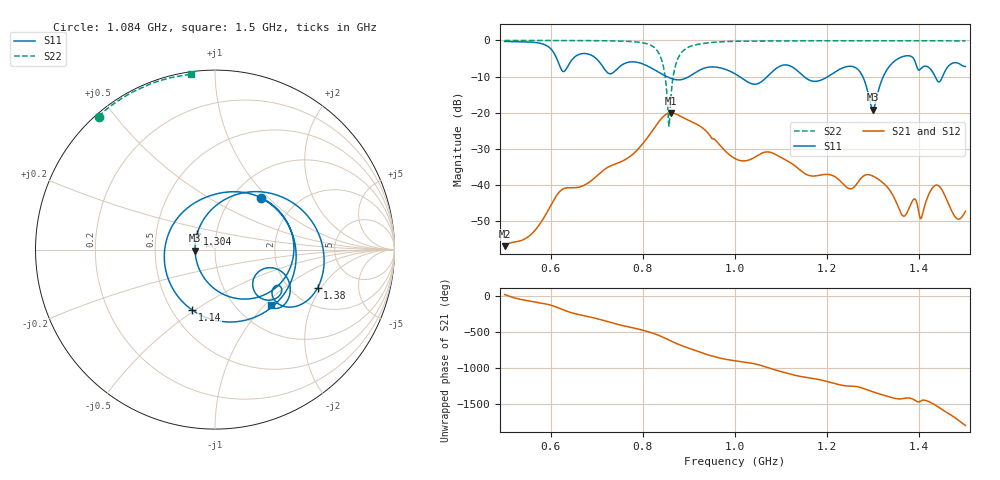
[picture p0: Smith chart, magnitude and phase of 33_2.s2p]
! TOUCHSTONE file generated by CST MICROWAVE STUDIO
! Date and time: Thu Feb 18 07:36:40 2021
! Project name: Scenario_1_Planar_Body_Tissue_Out_of_Line.cst
! Parameters = {L_HA=400; Ltissue=1000; MT=2.54; Rad_Dielectric=30; Rad_Lower=7.3; Rad_Upper=30; Wtissue=1000; a_HA=580; a_WG=246; b_HA=500; b_WG=121; c_HA=0; c_WG=187; d_feed=85; dx1=346; dy1=207.6; h_feed=15; h_lower=18; h_upper=40; hfat=3; hgap=25; hmuscle=50; hskin=1.5}
! Header version: 2018
! Port assignment regex: !\s*Touchstone port\s*([0-9]+)\s*=\s*(CST MWS port|CST DS port)\s*([0-9]+|Zmin|Zmax)\s*\(\"(.*)\"\)(\s*mode\s*([0-9]+))?.*
! Touchstone port assignment:
! Touchstone port 1 = CST MWS port 1 ("")
! Touchstone port 2 = CST MWS port 2 ("")
# GHz S DB R 50
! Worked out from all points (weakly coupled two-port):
!   1003 points, 500 MHz to 1.5 GHz, reference 50 ohm
!   highest |S21| = -20.01 dB at 861 MHz (marker M1); lowest = -56.8 dB at 500 MHz (marker M2)
!   lowest |S11| = -19.1 dB at 1.299 GHz (marker M3), VSWR 1.25, Z = 40 - j0.463 ohm
!   |S11| at or under -10 dB: 852.4 MHz to 900 MHz (47.67 MHz wide, 5.44 % of centre); 1.01 GHz to 1.07 GHz (59.96 MHz wide, 5.77 % of centre); 1.15 GHz to 1.202 GHz (51.56 MHz wide, 4.39 % of centre)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
!   |S22| runs from -23.7 to 0.0 dB; largest |S21 - S12| = 0.00017
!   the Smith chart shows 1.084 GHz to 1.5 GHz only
!   S11 on the Smith chart (normalised r, x): 1.084 GHz: 1.34, +0.90; 1.14 GHz: 0.63, -0.48; 1.304 GHz: 0.81, +0.14; 1.38 GHz: 2.76, -1.86; 1.5 GHz: 1.41, -1.08
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0.5  -0.27 -121.6  -56.83 20.9  -56.83 20.9  -0.01 151.1
0.667  -3.67 157.1  -40.31 93.5  -40.31 93.5  -0.04 138.4
0.695  -4.61 102.2  -38.01 53.9  -38.01 53.9  -0.06 135.4
0.717  -7.95 25.7  -35.63 16.1  -35.63 16.1  -0.09 132.7
0.741  -8.27 -96.2  -34.10 -27.3  -34.10 -27.3  -0.14 129.0
0.769  -6.02 177.0  -32.34 -69.1  -32.34 -69.1  -0.27 123.3
0.801  -6.54 106.4  -28.33 -117.5  -28.33 -117.5  -0.70 112.1
0.834  -8.77 32.9  -22.58 174.0  -22.58 174.0  -3.35 82.1
0.861  -10.48 -38.3  -20.01 93.8  -20.01 93.8  -15.51 -125.5
0.909  -9.30 176.8  -22.64 -26.6  -22.64 -26.6  -1.39 162.0
0.94  -7.43 82.8  -25.39 -95.8  -25.39 -95.7  -0.70 151.4
1  -9.22 -64.3  -32.64 178.9  -32.63 178.9  -0.24 140.2
1.043  -12.10 175.8  -32.26 136.2  -32.26 136.2  -0.18 135.0
1.084  -8.29 48.4  -31.25 58.0  -31.25 58.0  -0.14 131.2
1.14  -8.89 -111.0  -35.67 -36.1  -35.67 -36.1  -0.10 126.3
1.167  -11.21 167.6  -37.45 -64.5  -37.45 -64.5  -0.09 124.2
1.249  -7.13 4.0  -40.99 -172.9  -40.99 -172.9  -0.08 117.9
1.299  -19.09 -177.0  -37.45 108.0  -37.45 108.0  -0.09 114.2
1.304  -17.61 139.5  -37.79 97.4  -37.79 97.4  -0.09 113.8
1.334  -7.33 47.6  -41.06 38.2  -41.06 38.2  -0.08 111.5
1.38  -4.29 -20.3  -45.67 18.8  -45.67 18.8  -0.09 107.9
1.5  -7.18 -44.9  -47.21 -0.7  -47.21 -0.7  -0.13 97.9
